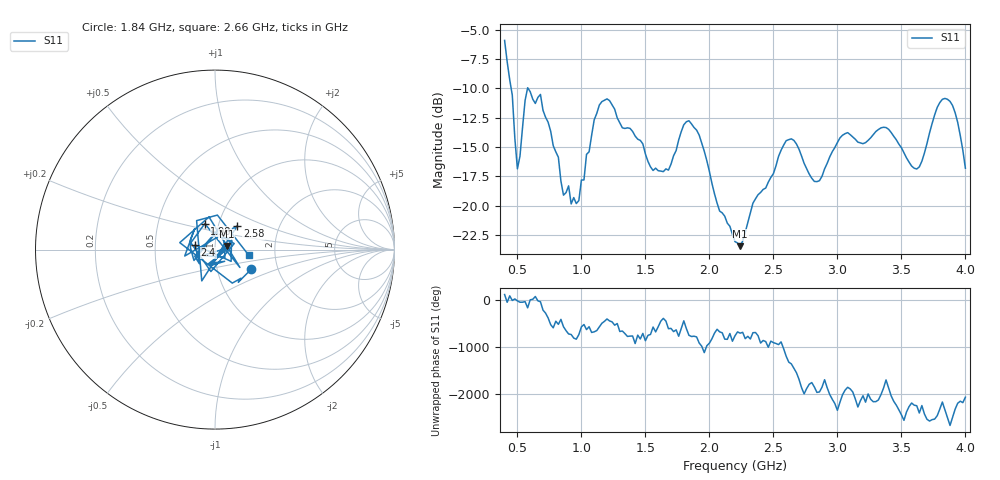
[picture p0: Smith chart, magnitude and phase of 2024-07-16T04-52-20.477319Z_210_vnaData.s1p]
!Created with skrf (http://scikit-rf.org).
# Hz S RI R 50.0
!freq ReS11 ImS11
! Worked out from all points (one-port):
!   181 points, 400 MHz to 4 GHz, reference 50 ohm
!   lowest |S11| = -23.5 dB at 2.24 GHz (marker M1), VSWR 1.14, Z = 56.8 + j2.24 ohm
!   |S11| at or under -10 dB: 451.3 MHz to 578.9 MHz (127.6 MHz wide, 24.8 % of centre); 583.6 MHz to end of sweep
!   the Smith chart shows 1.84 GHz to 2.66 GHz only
!   S11 on the Smith chart (normalised r, x): 1.84 GHz: 1.47, -0.33; 1.98 GHz: 0.86, +0.25; 2.4 GHz: 0.80, +0.04; 2.58 GHz: 1.23, +0.34; 2.66 GHz: 1.46, -0.09
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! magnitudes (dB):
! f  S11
! 400 MHz  -5.9
! 460 MHz  -10.6
! 500 MHz  -16.9
! 580 MHz  -9.9
! 680 MHz  -10.5
! 820 MHz  -15.9
! 860 MHz  -19.1
! 980 MHz  -19.6
! 1.16 GHz  -11.1
! 1.3 GHz  -12.9
! 1.56 GHz  -17.0
! 1.68 GHz  -17.0
! 1.76 GHz  -14.4
! 1.84 GHz  -12.8
! 1.98 GHz  -16.2
! 2.2 GHz  -23.1
! 2.24 GHz  -23.5
! 2.4 GHz  -18.9
! 2.58 GHz  -14.8
! 2.66 GHz  -14.4
! 2.84 GHz  -18.0
! 3.1 GHz  -13.9
! 3.38 GHz  -13.3
! 3.56 GHz  -16.3
! 3.64 GHz  -16.7
! 3.84 GHz  -10.9
! 3.92 GHz  -12.1
! 4 GHz  -16.8
